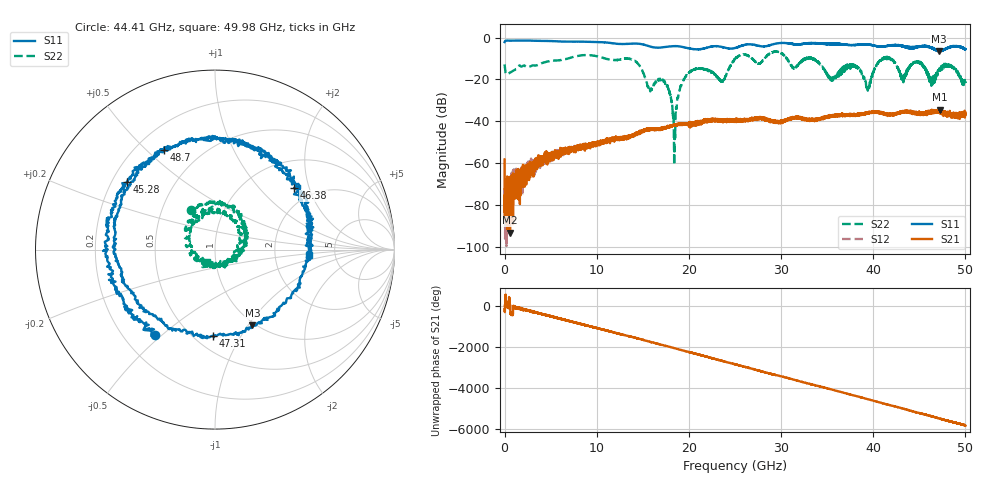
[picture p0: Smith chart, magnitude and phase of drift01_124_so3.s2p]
!Created with skrf (http://scikit-rf.org).
# Hz S RI R 50.0
!freq ReS11 ImS11 ReS21 ImS21 ReS12 ImS12 ReS22 ImS22
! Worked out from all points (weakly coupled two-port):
!   10001 points, 300 kHz to 50 GHz, reference 50 ohm
!   highest |S21| = -34.47 dB at 47.21 GHz (marker M1); lowest = -93.3 dB at 585.3 MHz (marker M2)
!   lowest |S11| = -6.6 dB at 47.12 GHz (marker M3), VSWR 2.77, Z = 48.5 - j52.3 ohm
!   |S11| at or under -10 dB: nowhere
!   |S22| runs from -61.0 to -6.7 dB; largest |S21 - S12| = 0.0038
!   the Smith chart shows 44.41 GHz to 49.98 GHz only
!   S11 on the Smith chart (normalised r, x): 44.41 GHz: 0.33, -0.47; 45.28 GHz: 0.26, +0.32; 46.38 GHz: 1.60, +1.60; 47.31 GHz: 0.61, -0.76; 48.7 GHz: 0.31, +0.57; 49.98 GHz: 3.17, -0.25
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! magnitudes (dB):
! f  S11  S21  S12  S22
! 300 kHz  -2.1  -58.3  -59.2  -12.8
! 585.3 MHz  -1.5  -93.3  -67.6  -16.7
! 8.335 GHz  -1.9  -53.4  -52.3  -8.5
! 16.67 GHz  -4.8  -43.6  -43.6  -20.0
! 17.74 GHz  -4.3  -42.6  -42.8  -24.1
! 18.44 GHz  -4.1  -42.0  -41.8  -45.3
! 19.95 GHz  -5.0  -41.4  -41.4  -17.1
! 23.61 GHz  -4.5  -39.4  -39.3  -20.7
! 25 GHz  -5.0  -39.7  -39.4  -10.4
! 33.34 GHz  -2.6  -39.2  -39.3  -10.0
! 39.46 GHz  -3.3  -35.8  -35.7  -23.2
! 41.67 GHz  -3.8  -36.5  -36.7  -9.9
! 43.19 GHz  -4.0  -35.8  -35.6  -20.5
! 44.41 GHz  -4.7  -35.8  -36.2  -11.8
! 45.28 GHz  -4.2  -35.8  -36.3  -12.8
! 46.38 GHz  -5.1  -34.8  -35.9  -19.7
! 47.12 GHz  -6.6  -35.6  -35.8  -16.5
! 47.21 GHz  -6.2  -34.5  -35.8  -15.0
! 47.31 GHz  -6.4  -35.3  -35.2  -15.2
! 48.7 GHz  -4.1  -36.9  -36.9  -14.5
! 49.98 GHz  -5.6  -36.8  -36.3  -21.8
! 50 GHz  -5.5  -35.9  -36.6  -21.7
